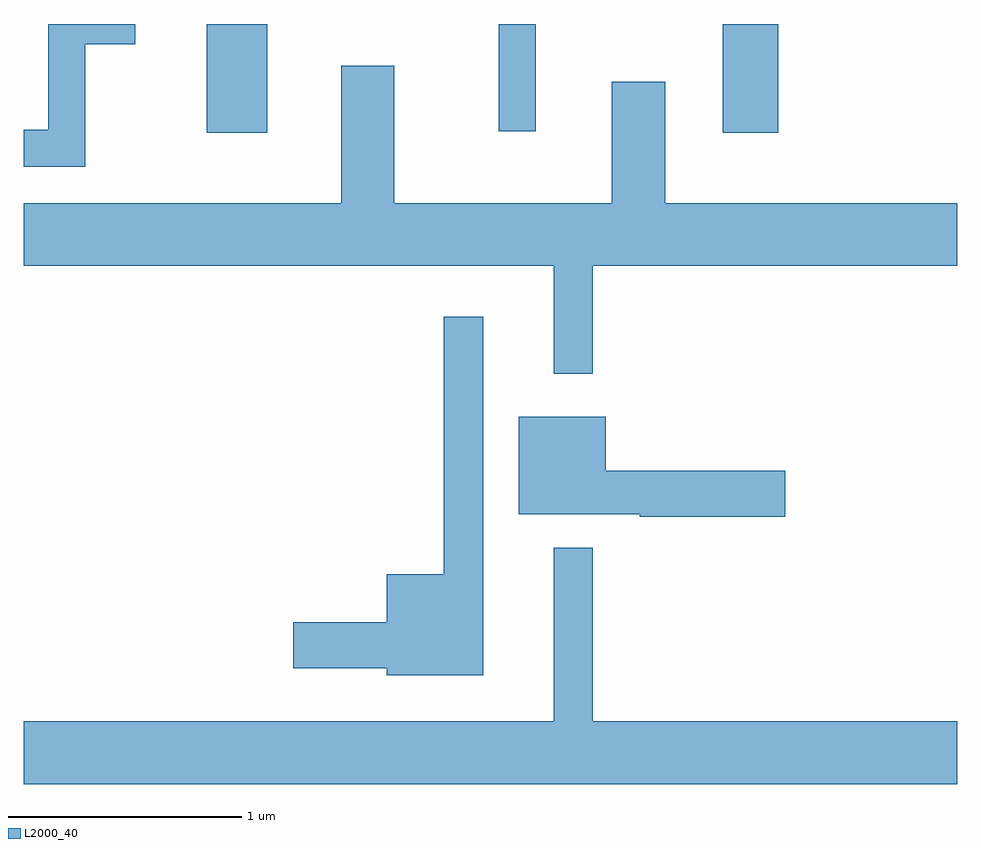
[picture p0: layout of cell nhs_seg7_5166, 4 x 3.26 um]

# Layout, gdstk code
import gdstk
lib = gdstk.Library(unit=1e-6, precision=1e-09)
def R(c, l, rs):  # rectangles x0, y0, x1, y1
    for r in rs: c.add(gdstk.rectangle(r[:2], r[2:], *l))
def P(c, l, *ps):  # polygons
    for p in ps: c.add(gdstk.Polygon(p, *l))
L2000_40 = (2000, 40)

nhs_seg7_5166 = lib.new_cell('nhs_seg7_5166')
R(nhs_seg7_5166, L2000_40, [(344.396,1703.786,344.654,1704.252), (346.606,1703.786,346.844,1704.252), (345.646,1703.793,345.804,1704.252)])
P(nhs_seg7_5166, L2000_40, [(343.874,1704.166),(344.089,1704.166),(344.089,1704.252),(343.716,1704.252),(343.716,1703.799),(343.611,1703.799),(343.611,1703.641),(343.874,1703.641)],
  [(346.049,1703.216),(347.611,1703.216),(347.611,1703.484),(346.359,1703.484),(346.359,1704.004),(346.131,1704.004),(346.131,1703.484),(345.199,1703.484),(345.199,1704.074),(344.971,1704.074),(344.971,1703.484),(343.611,1703.484),(343.611,1703.216),(345.881,1703.216),(345.881,1702.753),(346.049,1702.753)],
  [(345.579,1702.998),(345.411,1702.998),(345.411,1701.894),(345.166,1701.894),(345.166,1701.689),(344.766,1701.689),(344.766,1701.491),(345.166,1701.491),(345.166,1701.461),(345.579,1701.461)],
  [(346.874,1702.339),(346.104,1702.339),(346.104,1702.569),(345.731,1702.569),(345.731,1702.151),(346.25,1702.151),(346.25,1702.141),(346.874,1702.141)],
  [(347.611,1701.264),(346.049,1701.264),(346.049,1702.008),(345.881,1702.008),(345.881,1701.264),(343.611,1701.264),(343.611,1700.996),(347.611,1700.996)])

lib.write_gds('nhs_seg7_5166.gds')
